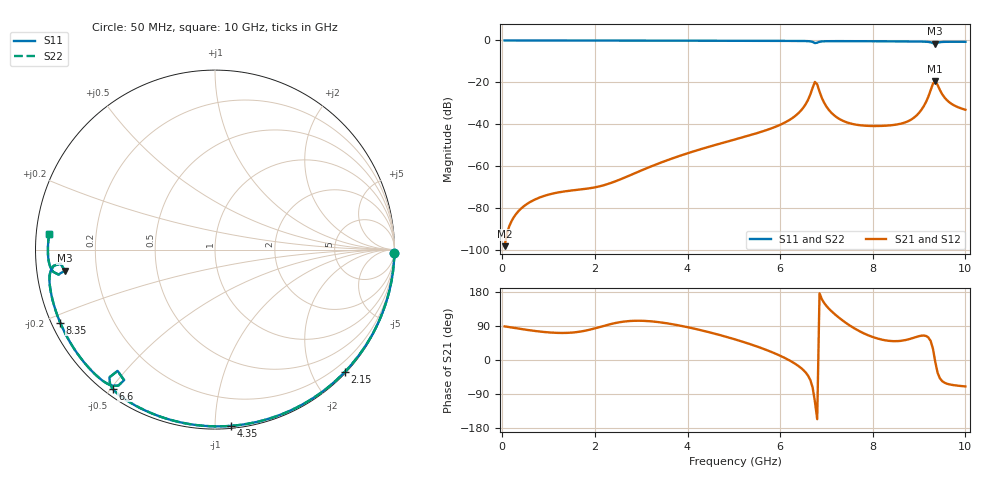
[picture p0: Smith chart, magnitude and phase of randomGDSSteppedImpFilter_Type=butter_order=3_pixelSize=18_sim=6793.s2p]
! freq	dB(S11)	phase(S11)	dB(S12)	phase(S12)
!  dB(S21)	phase(S21)	dB(S22)	phase(S22)
!S-par simulation data
#  GHz  S  DB  R 50
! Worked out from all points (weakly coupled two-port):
!   200 points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, 50 MHz to 10 GHz, reference 50 ohm
!   highest |S21| = -19.42 dB at 9.35 GHz (marker M1); lowest = -98.3 dB at 50 MHz (marker M2)
!   lowest |S11| = -1.5 dB at 9.35 GHz (marker M3), VSWR 11.92, Z = 4.22 - j3.47 ohm
!   |S11| at or under -10 dB: nowhere
!   |S22| runs from -1.5 to 0.0 dB; largest |S21 - S12| = 0
!   S11 on the Smith chart (normalised r, x): 50 MHz: open; 2.15 GHz: 0.02, -2.51; 4.35 GHz: 0.02, -1.09; 6.6 GHz: 0.02, -0.50; 8.35 GHz: 0.02, -0.22; 10 GHz: 0.04, +0.05
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0.05  -0.00 -1.0  -98.28 88.7  -98.28 88.7  -0.00 -1.0
0.4  -0.01 -8.2  -80.44 82.0  -80.44 82.0  -0.01 -8.2
0.95  -0.02 -19.5  -73.96 73.4  -73.96 73.4  -0.02 -19.5
1.75  -0.05 -35.5  -71.04 76.4  -71.04 76.4  -0.05 -35.5
2.15  -0.06 -43.4  -69.42 88.6  -69.42 88.6  -0.06 -43.4
3.4  -0.09 -67.4  -58.56 99.5  -58.56 99.5  -0.09 -67.4
4.35  -0.12 -84.9  -51.52 76.8  -51.52 76.8  -0.12 -84.9
5.05  -0.15 -97.4  -47.14 53.5  -47.14 53.5  -0.15 -97.4
6.15  -0.22 -117.0  -38.64 2.3  -38.64 2.3  -0.22 -117.0
6.4  -0.24 -121.8  -34.62 -16.3  -34.62 -16.3  -0.24 -121.8
6.6  -0.34 -126.4  -28.48 -40.8  -28.48 -40.8  -0.34 -126.4
6.7  -0.69 -129.6  -22.70 -71.7  -22.70 -71.7  -0.69 -129.6
6.75  -1.24 -128.8  -19.82 -109.2  -19.82 -109.2  -1.23 -128.8
6.8  -1.06 -124.8  -20.98 -156.1  -20.98 -156.1  -1.05 -124.9
7  -0.35 -129.5  -31.62 142.5  -31.62 142.5  -0.35 -129.5
7.35  -0.32 -136.5  -38.33 104.2  -38.33 104.2  -0.32 -136.5
8.35  -0.41 -154.8  -40.62 50.6  -40.62 50.6  -0.41 -154.8
8.95  -0.50 -166.5  -35.74 61.2  -35.74 61.2  -0.50 -166.5
9.1  -0.57 -169.9  -31.44 64.6  -31.44 64.6  -0.57 -170.0
9.35  -1.46 -172.0  -19.42 -5.3  -19.42 -5.3  -1.47 -172.0
9.6  -0.64 -176.4  -28.50 -62.5  -28.50 -62.5  -0.64 -176.4
10  -0.64 174.6  -33.10 -69.8  -33.10 -69.8  -0.64 174.6
